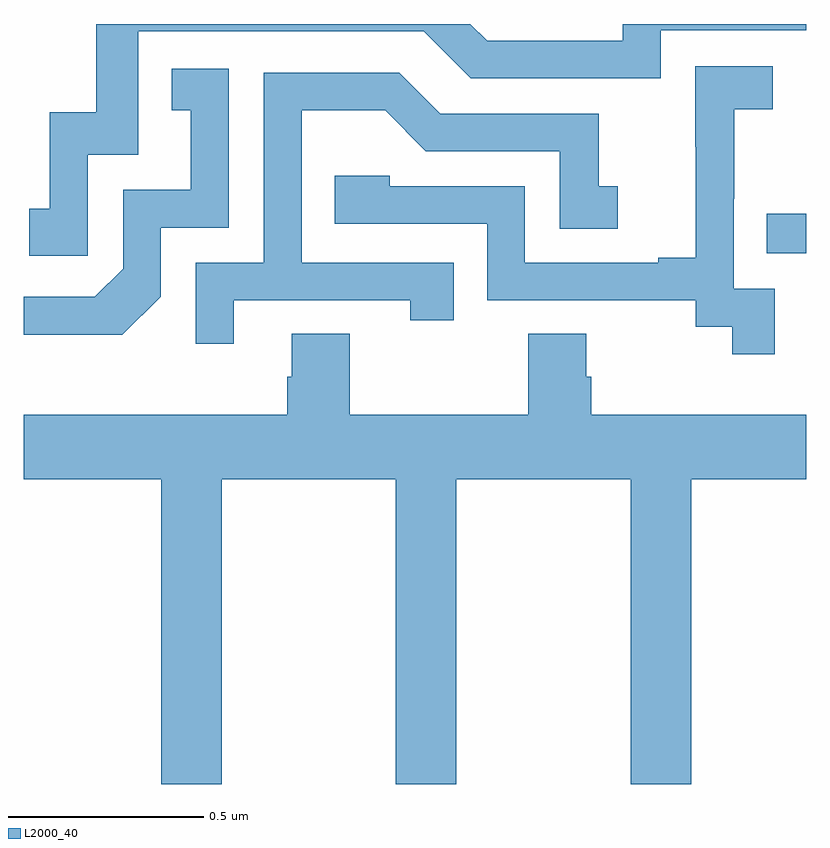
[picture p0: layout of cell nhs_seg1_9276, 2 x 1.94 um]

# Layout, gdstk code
import gdstk
lib = gdstk.Library(unit=1e-6, precision=1e-09)
def R(c, l, rs):  # rectangles x0, y0, x1, y1
    for r in rs: c.add(gdstk.rectangle(r[:2], r[2:], *l))
def P(c, l, *ps):  # polygons
    for p in ps: c.add(gdstk.Polygon(p, *l))
L2000_40 = (2000, 40)

nhs_seg1_9276 = lib.new_cell('nhs_seg1_9276')
R(nhs_seg1_9276, L2000_40, [(227.899,581.613,228,581.714)])
P(nhs_seg1_9276, L2000_40, [(226.164,581.865),(226.293,581.865),(226.293,582.18),(227.022,582.18),(227.142,582.06),(227.628,582.06),(227.628,582.183),(228,582.183),(228,582.199),(227.531,582.199),(227.531,582.156),(227.184,582.156),(227.141,582.199),(226.185,582.199),(226.185,581.974),(226.067,581.974),(226.067,581.727),(226.014,581.727),(226.014,581.607),(226.164,581.607)],
  [(227.919,581.523),(227.814,581.523),(227.814,581.753),(227.816,581.753),(227.816,581.981),(227.914,581.981),(227.914,582.091),(227.716,582.091),(227.716,581.885),(227.717,581.885),(227.717,581.602),(227.621,581.602),(227.621,581.589),(227.28,581.589),(227.28,581.784),(226.935,581.784),(226.935,581.811),(226.795,581.811),(226.795,581.688),(227.184,581.688),(227.184,581.493),(227.718,581.493),(227.718,581.425),(227.811,581.425),(227.811,581.355),(227.919,581.355)],
  [(226.35,581.502),(226.35,581.679),(226.524,581.679),(226.524,582.085),(226.378,582.085),(226.378,581.979),(226.427,581.979),(226.427,581.775),(226.254,581.775),(226.254,581.574),(226.182,581.502),(226,581.502),(226,581.405),(226.252,581.405)],
  [(226.537,581.493),(226.988,581.493),(226.988,581.442),(227.099,581.442),(227.099,581.589),(226.71,581.589),(226.71,581.978),(226.924,581.978),(227.028,581.874),(227.37,581.874),(227.37,581.676),(227.518,581.676),(227.518,581.785),(227.469,581.785),(227.469,581.97),(227.065,581.97),(226.96,582.075),(226.614,582.075),(226.614,581.589),(226.44,581.589),(226.44,581.382),(226.537,581.382)],
  [(226.506,581.036),(226.951,581.036),(226.951,580.257),(227.106,580.257),(227.106,581.036),(227.551,581.036),(227.551,580.257),(227.706,580.257),(227.706,581.036),(228,581.036),(228,581.2),(227.45,581.2),(227.45,581.298),(227.437,581.298),(227.437,581.408),(227.29,581.408),(227.29,581.2),(226.833,581.2),(226.833,581.408),(226.685,581.408),(226.685,581.298),(226.673,581.298),(226.673,581.2),(226,581.2),(226,581.036),(226.351,581.036),(226.351,580.257),(226.506,580.257)])

lib.write_gds('nhs_seg1_9276.gds')
